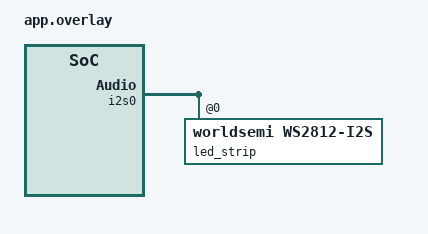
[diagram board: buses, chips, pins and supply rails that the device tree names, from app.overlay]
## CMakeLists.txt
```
cmake_minimum_required(VERSION 3.20.0)

set(DTC_OVERLAY_FILE app.overlay)

find_package(Zephyr REQUIRED)
project(my_zephyr_app)

target_sources(app PRIVATE src/main.cpp)
```

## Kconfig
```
source "Kconfig.zephyr"

menuconfig LED_SUBSYSTEM
    bool "LED Subsystem"

if LED_SUBSYSTEM

config APP_HEARTBEAT_PERIOD_MS
    int "LED Heartbeat Period"
    default 500
    range 0 5000

endif # LED_SUBSYSTEM
```

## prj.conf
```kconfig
CONFIG_LOG=y
CONFIG_LED_STRIP=y
CONFIG_LED_STRIP_LOG_LEVEL_DBG=y
CONFIG_LED_SUBSYSTEM=y
```

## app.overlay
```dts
#include <zephyr/dt-bindings/led/led.h>

/ {
    aliases {
        led-strip = &led_strip;
        rgb-led = &led_strip;
    };
};

&i2s0_default {
    group1 {
        pinmux = <I2S0_O_SD_GPIO48>;
    };
};

i2s_led: &i2s0 {
    status = "okay";
    dmas = <&dma 3>;
    dma-names = "tx";
    led_strip: ws2812@0 {
        compatible = "worldsemi,ws2812-i2s";
        reg = <0>;
        chain-length = <1>;
        color-mapping = <LED_COLOR_ID_GREEN
                         LED_COLOR_ID_RED
                         LED_COLOR_ID_BLUE>;
        reset-delay = <500>;
    };
};

&dma {
    status = "okay";
};
```

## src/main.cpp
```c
#include <zephyr/kernel.h>
#include <zephyr/drivers/led_strip.h>
#include <zephyr/device.h>
#include <zephyr/logging/log.h>

LOG_MODULE_REGISTER(main, LOG_LEVEL_INF);


#define NUM_LEDS DT_PROP(DT_ALIAS(rgb_led), chain_length)

static const struct device *strip = DEVICE_DT_GET(DT_ALIAS(rgb_led));

static struct led_rgb colors[] = {
    { .r = 255, .g = 0,   .b = 0   },
    { .r = 0,   .g = 255, .b = 0   },
    { .r = 0,   .g = 0,   .b = 255 },
};

static const char * const color_names[] = { "Red", "Green", "Blue" };

int main(void)
{
    if (!device_is_ready(strip)) {
        LOG_ERR("LED strip device not ready");
        return -ENODEV;
    }

    LOG_INF("LED strip device ready");

    int color_selector = 0;

    while (1) {
        LOG_INF("Color: %s, sleep_ms: %d", color_names[color_selector], CONFIG_APP_HEARTBEAT_PERIOD_MS);
        led_strip_update_rgb(strip, &colors[color_selector], NUM_LEDS);
        color_selector = (color_selector + 1) % ARRAY_SIZE(colors);
        k_msleep(CONFIG_APP_HEARTBEAT_PERIOD_MS);
    }

    return 0;
}
```
